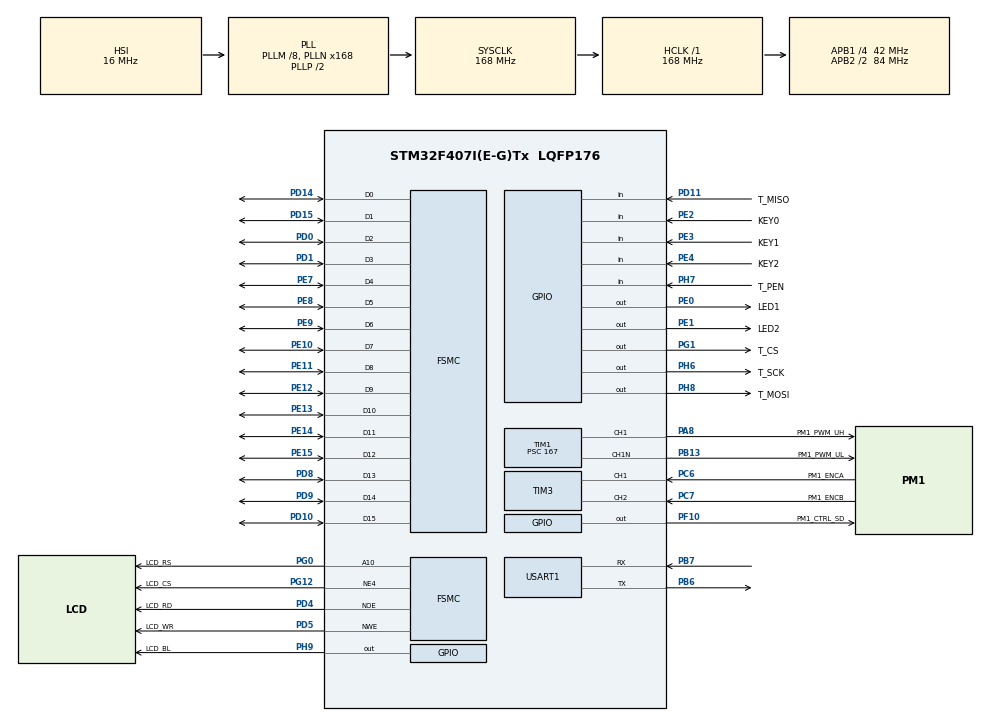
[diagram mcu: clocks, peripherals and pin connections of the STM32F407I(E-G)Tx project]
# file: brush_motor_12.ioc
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FSMC.AccessMode4=FSMC_ACCESS_MODE_A
FSMC.AddressSetupTime4=2
FSMC.BusTurnAroundDuration4=0
FSMC.DataSetupTime4=5
FSMC.ExtendedAccessMode4=FSMC_ACCESS_MODE_A
FSMC.ExtendedAddressSetupTime4=0
FSMC.ExtendedBusTurnAroundDuration4=0
FSMC.ExtendedDataSetupTime4=255
FSMC.ExtendedMode4=FSMC_EXTENDED_MODE_ENABLE
FSMC.NSBank4=FSMC_NORSRAM_BANK4
FSMC.WriteOperation4=FSMC_WRITE_OPERATION_ENABLE
Mcu.Family=STM32F4
Mcu.Name=STM32F407I(E-G)Tx
Mcu.Package=LQFP176
NVIC.PriorityGroup=NVIC_PRIORITYGROUP_4
NVIC.TIM3_IRQn=true\:2\:0\:true\:false\:true\:true\:true\:true
NVIC.TIM6_DAC_IRQn=true\:3\:0\:true\:false\:true\:true\:true\:true
PA13.Mode=Serial_Wire
PA13.Signal=SYS_JTMS-SWDIO
PA14.Mode=Serial_Wire
PA14.Signal=SYS_JTCK-SWCLK
PA8.GPIO_Label=PM1_PWM_UH
PA8.GPIO_Speed=GPIO_SPEED_FREQ_HIGH
PA8.Signal=S_TIM1_CH1
PB0.GPIO_Label=PM1_AMPU
PB0.Signal=ADCx_IN8
PB13.GPIO_Label=PM1_PWM_UL
PB13.GPIO_PuPd=GPIO_NOPULL
PB13.GPIO_Speed=GPIO_SPEED_FREQ_HIGH
PB13.Mode=PWM Generation1 CH1 CH1N
PB13.Signal=TIM1_CH1N
PB6.Mode=Asynchronous
PB6.Signal=USART1_TX
PB7.Mode=Asynchronous
PB7.Signal=USART1_RX
PC14-OSC32_IN.Mode=LSE-External-Oscillator
PC14-OSC32_IN.Signal=RCC_OSC32_IN
PC15-OSC32_OUT.Mode=LSE-External-Oscillator
PC15-OSC32_OUT.Signal=RCC_OSC32_OUT
PC6.GPIO_Label=PM1_ENCA
PC6.GPIO_Speed=GPIO_SPEED_FREQ_HIGH
PC6.Signal=S_TIM3_CH1
PC7.GPIO_Label=PM1_ENCB
PC7.GPIO_Speed=GPIO_SPEED_FREQ_HIGH
PC7.Signal=S_TIM3_CH2
PD0.GPIO_PuPd=GPIO_PULLUP
PD0.Signal=FSMC_D2_DA2
PD1.GPIO_PuPd=GPIO_PULLUP
PD1.Signal=FSMC_D3_DA3
PD10.GPIO_PuPd=GPIO_PULLUP
PD10.Signal=FSMC_D15_DA15
PD11.GPIO_Label=T_MISO
PD11.Signal=GPIO_Input
PD14.GPIO_PuPd=GPIO_PULLUP
PD14.Signal=FSMC_D0_DA0
PD15.GPIO_PuPd=GPIO_PULLUP
PD15.Signal=FSMC_D1_DA1
PD4.GPIO_Label=LCD_RD
PD4.GPIO_PuPd=GPIO_PULLUP
PD4.Signal=FSMC_NOE
PD5.GPIO_Label=LCD_WR
PD5.GPIO_PuPd=GPIO_PULLUP
PD5.Signal=FSMC_NWE
PD8.GPIO_PuPd=GPIO_PULLUP
PD8.Signal=FSMC_D13_DA13
PD9.GPIO_PuPd=GPIO_PULLUP
PD9.Signal=FSMC_D14_DA14
PE0.GPIO_Label=LED1
PE0.PinState=GPIO_PIN_SET
PE0.Signal=GPIO_Output
PE1.GPIO_Label=LED2
PE1.PinState=GPIO_PIN_SET
PE1.Signal=GPIO_Output
PE10.GPIO_PuPd=GPIO_PULLUP
PE10.Signal=FSMC_D7_DA7
PE11.GPIO_PuPd=GPIO_PULLUP
PE11.Signal=FSMC_D8_DA8
PE12.GPIO_PuPd=GPIO_PULLUP
PE12.Signal=FSMC_D9_DA9
PE13.GPIO_PuPd=GPIO_PULLUP
PE13.Signal=FSMC_D10_DA10
PE14.GPIO_PuPd=GPIO_PULLUP
PE14.Signal=FSMC_D11_DA11
PE15.GPIO_PuPd=GPIO_PULLUP
PE15.Signal=FSMC_D12_DA12
PE2.GPIO_Label=KEY0
PE2.GPIO_PuPd=GPIO_PULLUP
PE2.Signal=GPIO_Input
PE3.GPIO_Label=KEY1
PE3.GPIO_PuPd=GPIO_PULLUP
PE3.Signal=GPIO_Input
PE4.GPIO_Label=KEY2
PE4.GPIO_PuPd=GPIO_PULLUP
PE4.Signal=GPIO_Input
PE7.GPIO_PuPd=GPIO_PULLUP
PE7.Signal=FSMC_D4_DA4
PE8.GPIO_PuPd=GPIO_PULLUP
PE8.Signal=FSMC_D5_DA5
PE9.GPIO_PuPd=GPIO_PULLUP
PE9.Signal=FSMC_D6_DA6
PF10.GPIO_Label=PM1_CTRL_SD
PF10.Signal=GPIO_Output
PG0.GPIO_Label=LCD_RS
PG0.GPIO_PuPd=GPIO_PULLUP
PG0.Signal=FSMC_A10
PG1.GPIO_Label=T_CS
PG1.Signal=GPIO_Output
PG12.GPIO_Label=LCD_CS
PG12.GPIO_PuPd=GPIO_PULLUP
PG12.Mode=NorPsramChipSelect4_4
PG12.Signal=FSMC_NE4
PH0-OSC_IN.Mode=HSE-External-Oscillator
PH0-OSC_IN.Signal=RCC_OSC_IN
PH1-OSC_OUT.Mode=HSE-External-Oscillator
PH1-OSC_OUT.Signal=RCC_OSC_OUT
PH13.Signal=TIM8_CH1N
PH6.GPIO_Label=T_SCK
PH6.Signal=GPIO_Output
PH7.GPIO_Label=T_PEN
PH7.Signal=GPIO_Input
PH8.GPIO_Label=T_MOSI
PH8.Signal=GPIO_Output
PH9.GPIO_Label=LCD_BL
PH9.Signal=GPIO_Output
ProjectManager.HeapSize=0x200
ProjectManager.StackSize=0x400
ProjectManager.TargetToolchain=MDK-ARM V5.27
RCC.48MHZClocksFreq_Value=84000000
RCC.AHBFreq_Value=168000000
RCC.APB1CLKDivider=RCC_HCLK_DIV4
RCC.APB1Freq_Value=42000000
RCC.APB1TimFreq_Value=84000000
RCC.APB2CLKDivider=RCC_HCLK_DIV2
RCC.APB2Freq_Value=84000000
RCC.APB2TimFreq_Value=168000000
RCC.CortexFreq_Value=168000000
RCC.FLatency=FLASH_LATENCY_5
RCC.HCLKFreq_Value=168000000
RCC.HSE_VALUE=25000000
RCC.HSI_VALUE=16000000
RCC.PLLM=8
RCC.PLLN=168
RCC.SYSCLKFreq_VALUE=168000000
RCC.SYSCLKSource=RCC_SYSCLKSOURCE_PLLCLK
RCC.VCOOutputFreq_Value=336000000
SH.ADCx_IN8.0=ADC1_IN8
SH.FSMC_A10.0=FSMC_A10,A10_4
SH.FSMC_D0_DA0.0=FSMC_D0,16b-d4
SH.FSMC_D10_DA10.0=FSMC_D10,16b-d4
SH.FSMC_D11_DA11.0=FSMC_D11,16b-d4
SH.FSMC_D12_DA12.0=FSMC_D12,16b-d4
SH.FSMC_D13_DA13.0=FSMC_D13,16b-d4
SH.FSMC_D14_DA14.0=FSMC_D14,16b-d4
SH.FSMC_D15_DA15.0=FSMC_D15,16b-d4
SH.FSMC_D1_DA1.0=FSMC_D1,16b-d4
SH.FSMC_D2_DA2.0=FSMC_D2,16b-d4
SH.FSMC_D3_DA3.0=FSMC_D3,16b-d4
SH.FSMC_D4_DA4.0=FSMC_D4,16b-d4
SH.FSMC_D5_DA5.0=FSMC_D5,16b-d4
SH.FSMC_D6_DA6.0=FSMC_D6,16b-d4
SH.FSMC_D7_DA7.0=FSMC_D7,16b-d4
SH.FSMC_D8_DA8.0=FSMC_D8,16b-d4
SH.FSMC_D9_DA9.0=FSMC_D9,16b-d4
SH.FSMC_NOE.0=FSMC_NOE,Lcd4
SH.FSMC_NWE.0=FSMC_NWE,Lcd4
SH.S_TIM1_CH1.0=TIM1_CH1,PWM Generation1 CH1 CH1N
SH.S_TIM3_CH1.0=TIM3_CH1,Encoder_Interface
SH.S_TIM3_CH2.0=TIM3_CH2,Encoder_Interface
TIM1.Channel-PWM\ Generation1\ CH1\ CH1N=TIM_CHANNEL_1
TIM1.CounterMode=TIM_COUNTERMODE_CENTERALIGNED1
TIM1.DeadTime=3
TIM1.Period=999
TIM1.Prescaler=167
TIM1.TIM_MasterOutputTrigger=TIM_TRGO_UPDATE
TIM1.TIM_MasterSlaveMode=TIM_MASTERSLAVEMODE_ENABLE
TIM3.EncoderMode=TIM_ENCODERMODE_TI12
TIM3.IC1Filter=10
TIM3.IC2Filter=10
TIM6.Period=999
TIM6.Prescaler=83
USART1.VirtualMode=VM_ASYNC
VP_TIM1_VS_ClockSourceINT.Mode=Internal
VP_TIM6_VS_ClockSourceINT.Mode=Enable_Timer
board=custom

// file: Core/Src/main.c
/* USER CODE BEGIN Header */
/**
 ******************************************************************************
 * @file           : main.c
 * @brief          : Main program body — 直流有刷电机位置环 PID 控制
 ******************************************************************************
 */
/* USER CODE END Header */
#include "main.h"
#include "tim.h"
#include "usart.h"
#include "gpio.h"
#include "fsmc.h"

/* USER CODE BEGIN Includes */
#include <stdlib.h>
#include <stdio.h>
#include <string.h>
#include "bsp_lcd.h"
#include "bsp_key_led.h"
#include "bsp_delay.h"
#include "bsp_brush_motor.h"
#include "bsp_encoder.h"
#include "pid.h"
#include "position_loop.h"
#include "user_config.h"
/* USER CODE END Includes */

/* USER CODE BEGIN PV */

/* ---- 电机驱动配置（PM1：TIM1 CH1 PA8 / CH1N PB13） ---- */
BrushMotorConfig pm1_motor = {
    .htim              = &htim1,
    .tim_channel       = TIM_CHANNEL_1,
    .tim_arr_plus1     = 1000,       /* ARR=999, 分辨率 = ARR+1 = 1000 */
    .sd_port      = PM1_CTRL_SD_GPIO_Port,
    .sd_pin       = PM1_CTRL_SD_Pin
};

/* ---- 位置环控制实例 ---- */
PositionLoopCtrl position_loop;

/* ---- TIM6 1ms 系统心跳 ---- */
volatile uint32_t g_tick_1ms = 0;

/* ---- 报告更新标志（ISR 每 200ms 置位，主循环执行 LCD + 串口） ---- */
volatile uint8_t g_report_flag = 0;

/* ==== 调试变量：确认 PID 更新是否真正执行 ==== */
volatile uint32_t g_pid_run_cnt = 0;   /* PositionLoop_Update 累计执行次数 */
volatile int16_t  g_dbg_last_pwm = 0;  /* 最后一次 PID 输出的 PWM 值 */

/* USER CODE END PV */

void SystemClock_Config(void);
/* USER CODE BEGIN PFP */
static void Sys_LCD_Update(void);
static void Sys_Serial_Output(void);
/* USER CODE END PFP */

/* USER CODE BEGIN 0 */

/*==============================================================================
 * 按键处理
 *============================================================================*/

/** @brief KEY0: 目标位置 +1 圈（STEP_ANGLE_COUNTS = 1320 counts） */
static void Key0_AddAngle(void)
{
    int32_t new_target = PositionLoop_GetTarget(&position_loop) + STEP_ANGLE_COUNTS;
    if (new_target > POSITION_MAX) new_target = POSITION_MAX;
    PositionLoop_SetTarget(&position_loop, new_target);
    Led_Toggle(LED1);
}

/** @brief KEY1: 目标位置 -1 圈（STEP_ANGLE_COUNTS = 1320 counts） */
static void Key1_SubAngle(void)
{
    int32_t new_target = PositionLoop_GetTarget(&position_loop) - STEP_ANGLE_COUNTS;
    if (new_target < POSITION_MIN) new_target = POSITION_MIN;
    PositionLoop_SetTarget(&position_loop, new_target);
    Led_Toggle(LED2);
}

/** @brief KEY2: 复位到原点 */
static void Key2_ResetOrigin(void)
{
    PositionLoop_RequestHome(&position_loop);
    Led_Off(LED1);
    Led_Off(LED2);
}

/* USER CODE END 0 */

int main(void)
{

  /* MCU Configuration--------------------------------------------------------*/

  /* Reset of all peripherals, Initializes the Flash interface and the Systick. */
  HAL_Init();

  /* Configure the system clock */
  SystemClock_Config();

  /* Initialize all configured peripherals */
  MX_GPIO_Init();
  MX_FSMC_Init();
  MX_USART1_UART_Init();
  MX_TIM1_Init();
  MX_TIM3_Init();
  MX_TIM6_Init();
  /* USER CODE BEGIN 2 */
  DWT_Init();
  Key_Init();
  Led_Init();
  lcd_init();

  /* ---- 屏幕标题 ---- */
  lcd_show_string(100, 10, 300, 32, 32, "Dr.GAO-Motor-1", RED);
  lcd_show_string(10,  60, 450, 24, 24, "Chap12: Position-Loop PID", BLUE);

  /* ---- 初始化电机驱动 ---- */
  BrushMotor_Init(&pm1_motor);
  BrushMotor_BootstrapCharge();

  /* ---- 初始化编码器 ---- */
  BSP_Encoder_Init();
  BSP_Encoder_Start(ENCODER_PM1);

  /* ---- 初始化位置环 ---- */
  PositionLoop_Init(&position_loop, &pm1_motor);

  /* ---- LED 初始状态 ---- */
  Led_Off(LED1);
  Led_Off(LED2);

  /* TIM6 优先级设为 1（高于 TIM3 的 2），保证编码器读取不被溢出中断打断 */
  HAL_NVIC_SetPriority(TIM6_DAC_IRQn, 1, 0);

  /* ---- 启动 TIM6 1ms 系统心跳 ---- */
  HAL_TIM_Base_Start_IT(&htim6);

  /* USER CODE END 2 */

  /* Infinite loop */
  /* USER CODE BEGIN WHILE */
  while (1)
  {
    /* ---- 按键扫描（10ms 消抖，松手检测） ---- */
    {
      uint8_t key = Key_Scan(0);
      if (key == KEY0_Pressed)      Key0_AddAngle();
      else if (key == KEY1_Pressed) Key1_SubAngle();
      else if (key == KEY2_Pressed) Key2_ResetOrigin();
    }

    /* ---- LCD + 串口更新 ---- */
    if (g_report_flag)
    {
      g_report_flag = 0;
      Sys_LCD_Update();
      Sys_Serial_Output();
    }

    HAL_Delay(10);   /* 主循环 10ms 节拍 */
  }
    /* USER CODE END WHILE */

}

void SystemClock_Config(void)
{
  RCC_OscInitTypeDef RCC_OscInitStruct = {0};
  RCC_ClkInitTypeDef RCC_ClkInitStruct = {0};

  /** Configure the main internal regulator output voltage
  */
  __HAL_RCC_PWR_CLK_ENABLE();
  __HAL_PWR_VOLTAGESCALING_CONFIG(PWR_REGULATOR_VOLTAGE_SCALE1);

  /** Initializes the RCC Oscillators according to the specified parameters
  * in the RCC_OscInitTypeDef structure.
  */
  RCC_OscInitStruct.OscillatorType = RCC_OSCILLATORTYPE_HSI;
  RCC_OscInitStruct.HSIState = RCC_HSI_ON;
  RCC_OscInitStruct.HSICalibrationValue = RCC_HSICALIBRATION_DEFAULT;
  RCC_OscInitStruct.PLL.PLLState = RCC_PLL_ON;
  RCC_OscInitStruct.PLL.PLLSource = RCC_PLLSOURCE_HSI;
  RCC_OscInitStruct.PLL.PLLM = 8;
  RCC_OscInitStruct.PLL.PLLN = 168;
  RCC_OscInitStruct.PLL.PLLP = RCC_PLLP_DIV2;
  RCC_OscInitStruct.PLL.PLLQ = 4;
  if (HAL_RCC_OscConfig(&RCC_OscInitStruct) != HAL_OK)
  {
    Error_Handler();
  }

  /** Initializes the CPU, AHB and APB buses clocks
  */
  RCC_ClkInitStruct.ClockType = RCC_CLOCKTYPE_HCLK|RCC_CLOCKTYPE_SYSCLK
                              |RCC_CLOCKTYPE_PCLK1|RCC_CLOCKTYPE_PCLK2;
  RCC_ClkInitStruct.SYSCLKSource = RCC_SYSCLKSOURCE_PLLCLK;
  RCC_ClkInitStruct.AHBCLKDivider = RCC_SYSCLK_DIV1;
  RCC_ClkInitStruct.APB1CLKDivider = RCC_HCLK_DIV4;
  RCC_ClkInitStruct.APB2CLKDivider = RCC_HCLK_DIV2;

  if (HAL_RCC_ClockConfig(&RCC_ClkInitStruct, FLASH_LATENCY_5) != HAL_OK)
  {
    Error_Handler();
  }
}

/* USER CODE BEGIN 4 */

/*==============================================================================
 * TIM 中断回调
 *============================================================================*/

void HAL_TIM_PeriodElapsedCallback(TIM_HandleTypeDef *htim)
{
  if (htim->Instance == TIM6)
  {
    static uint32_t pid_cnt    = 0;
    static uint32_t report_cnt = 0;
    static uint32_t speed_cnt  = 0;

    g_tick_1ms++;

    /* PID 位置环（周期 = PID_PERIOD_TICKS ms） */
    if (++pid_cnt >= PID_PERIOD_TICKS)
    {
      pid_cnt = 0;
      PositionLoop_Update(&position_loop);
    }

    /* 编码器速度更新（SPEED_UPDATE_MS = 100ms） */
    if (++speed_cnt >= 100u)
    {
      speed_cnt = 0;
      BSP_Encoder_UpdateSpeed();
    }

    /* 报告更新标志（主循环执行 LCD + 串口） */
    if (++report_cnt >= REPORT_PERIOD_TICKS)
    {
      report_cnt = 0;
      g_report_flag = 1;
    }
  }
  else if (htim->Instance == TIM3)
  {
    BSP_Encoder_HandleOverflow(htim);
  }
}

/*==============================================================================
 * LCD 显示更新（在主循环中执行，不在 ISR 中）
 *============================================================================*/

static void Sys_LCD_Update(void)
{
    char buffer[60];
    PositionState_t state = PositionLoop_GetState(&position_loop);

    /* 行1：运行状态 */
    sprintf(buffer, "State: %s                          ",
            PositionLoop_StateName(state));
    lcd_show_string(10, 90, 450, 24, 24, buffer,
                    (state == POS_STATE_HOLDING) ? GREEN : BLUE);

    /* 行2：目标位置 + 对应圈数 */
    {
        int32_t t = PositionLoop_GetTarget(&position_loop);
        int32_t t_abs = (t < 0) ? -t : t;
        sprintf(buffer, "Target: %ld (%c%ld.%01ld rev)        ",
                (long)t, (t < 0) ? '-' : '+', (long)(t_abs / 1320),
                (long)((t_abs % 1320) * 10 / 1320));
    }
    lcd_show_string(10, 120, 400, 24, 24, buffer, BLUE);

    /* 行3：当前位置 + 圈数 */
    {
        int32_t f = PositionLoop_GetFeedback(&position_loop);
        int32_t f_abs = (f < 0) ? -f : f;
        sprintf(buffer, "Actual: %ld (%c%ld.%01ld rev)        ",
                (long)f, (f < 0) ? '-' : '+', (long)(f_abs / 1320),
                (long)((f_abs % 1320) * 10 / 1320));
    }
    lcd_show_string(10, 150, 400, 24, 24, buffer, BLUE);

    /* 行4：误差 + PWM 百分比（pwm_final 已是 ±50% 域） */
    {
        sprintf(buffer, "Error: %ld  PWM: %+d%%             ",
                (long)PositionLoop_GetError(&position_loop),
                (int)position_loop.pwm_final);
    }
    lcd_show_string(10, 180, 400, 24, 24, buffer, BLUE);

    /* 行5：PID 模式 + 周期 */
    sprintf(buffer, "Mode: IncrPD  Period: %lums          ",
            (unsigned long)PID_PERIOD_TICKS);
    lcd_show_string(10, 210, 400, 24, 24, buffer, BLUE);
}

/*==============================================================================
 * 串口调试输出（在主循环中执行，不在 ISR 中）
 *============================================================================*/

static void Sys_Serial_Output(void)
{
#if VOFA_FIREWATER_ENABLE
    /* ---- VOFA+ FireWater 协议：逗号分隔浮点数 + 换行 ----
     *
     * FireWater 格式：ch0,ch1,ch2,ch3\n
     * 既是有效的 VOFA+ 数据帧，也能在普通串口终端直读。
     *
     * 通道定义：
     *   ch0: 目标位置（counts）
     *   ch1: 实际位置（counts）
     *   ch2: 位置误差（counts）
     *   ch3: PWM 输出（%，有符号）
     *
     * VOFA+ 上位机设置：
     *   协议：FireWater
     *   绑定串口后自动绘图，无需额外配置
     * -------------------------------------------------------- */
    char vofa_buf[80];
    sprintf(vofa_buf, "%.1f,%.1f,%.1f,%.1f\n",
            (float)PositionLoop_GetTarget(&position_loop),
            (float)PositionLoop_GetFeedback(&position_loop),
            (float)PositionLoop_GetError(&position_loop),
            (float)position_loop.pwm_final);
    USART_SendString(vofa_buf);
#else
    /* ---- 文本格式调试输出 ---- */
    char buffer[100];
    sprintf(buffer,
            "[POS] T:%ld A:%ld E:%ld %s PWM:%+d%% [run:%lu dbg:%+d]\r\n",
            (long)PositionLoop_GetTarget(&position_loop),
            (long)PositionLoop_GetFeedback(&position_loop),
            (long)PositionLoop_GetError(&position_loop),
            PositionLoop_StateName(PositionLoop_GetState(&position_loop)),
            (int)position_loop.pwm_final,
            (unsigned long)g_pid_run_cnt,
            (int)g_dbg_last_pwm);
    USART_SendString(buffer);
#endif
}
/* USER CODE END 4 */

void Error_Handler(void)
{
  __disable_irq();
  while (1)
  {
  }
}
